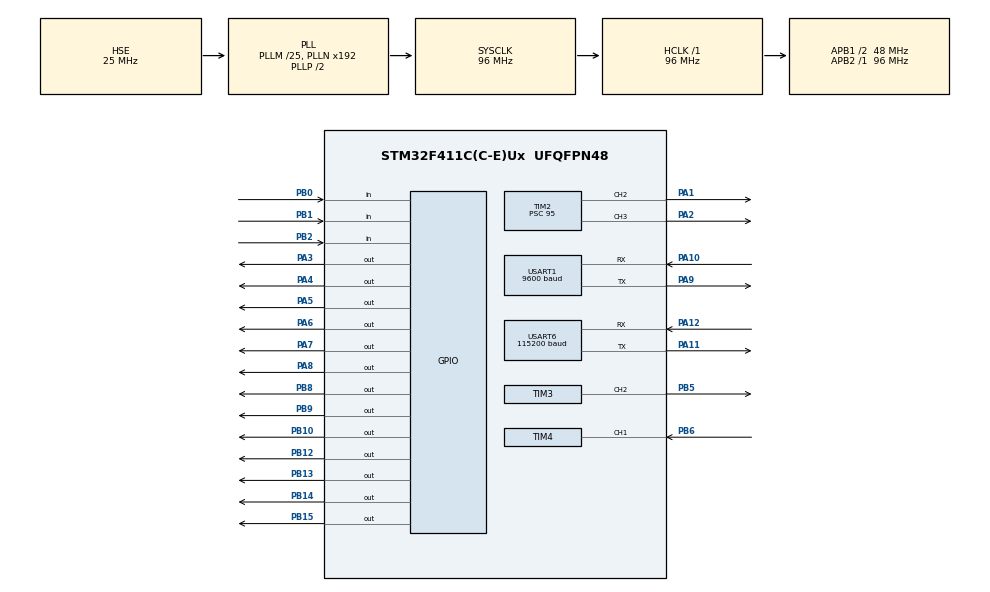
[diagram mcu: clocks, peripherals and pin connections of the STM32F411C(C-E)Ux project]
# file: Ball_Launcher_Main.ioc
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Mcu.Family=STM32F4
Mcu.Name=STM32F411C(C-E)Ux
Mcu.Package=UFQFPN48
NVIC.PriorityGroup=NVIC_PRIORITYGROUP_4
NVIC.TIM4_IRQn=true\:0\:0\:false\:false\:true\:true\:true\:true
NVIC.USART1_IRQn=true\:0\:0\:false\:false\:true\:true\:true\:true
PA1.Signal=S_TIM2_CH2
PA10.Mode=Asynchronous
PA10.Signal=USART1_RX
PA11.Mode=Asynchronous
PA11.Signal=USART6_TX
PA12.Mode=Asynchronous
PA12.Signal=USART6_RX
PA2.Signal=S_TIM2_CH3
PA3.Signal=GPIO_Output
PA4.Signal=GPIO_Output
PA5.Signal=GPIO_Output
PA6.Signal=GPIO_Output
PA7.Signal=GPIO_Output
PA8.Signal=GPIO_Output
PA9.Mode=Asynchronous
PA9.Signal=USART1_TX
PB0.Signal=GPIO_Input
PB1.Signal=GPIO_Input
PB10.Signal=GPIO_Output
PB12.Signal=GPIO_Output
PB13.Signal=GPIO_Output
PB14.Signal=GPIO_Output
PB15.Signal=GPIO_Output
PB2.Signal=GPIO_Input
PB5.Signal=S_TIM3_CH2
PB6.Signal=S_TIM4_CH1
PB8.Signal=GPIO_Output
PB9.Signal=GPIO_Output
PH0\ -\ OSC_IN.Mode=HSE-External-Oscillator
PH0\ -\ OSC_IN.Signal=RCC_OSC_IN
PH1\ -\ OSC_OUT.Mode=HSE-External-Oscillator
PH1\ -\ OSC_OUT.Signal=RCC_OSC_OUT
ProjectManager.HeapSize=0x200
ProjectManager.StackSize=0x400
ProjectManager.TargetToolchain=STM32CubeIDE
RCC.48MHZClocksFreq_Value=48000000
RCC.AHBFreq_Value=96000000
RCC.APB1CLKDivider=RCC_HCLK_DIV2
RCC.APB1Freq_Value=48000000
RCC.APB1TimFreq_Value=96000000
RCC.APB2Freq_Value=96000000
RCC.APB2TimFreq_Value=96000000
RCC.CortexFreq_Value=96000000
RCC.HCLKFreq_Value=96000000
RCC.HSE_VALUE=25000000
RCC.HSI_VALUE=16000000
RCC.LSE_VALUE=32768
RCC.PLLM=25
RCC.PLLSourceVirtual=RCC_PLLSOURCE_HSE
RCC.SYSCLKFreq_VALUE=96000000
RCC.SYSCLKSource=RCC_SYSCLKSOURCE_PLLCLK
RCC.VCOOutputFreq_Value=192000000
SH.S_TIM2_CH2.0=TIM2_CH2,PWM Generation2 CH2
SH.S_TIM2_CH3.0=TIM2_CH3,PWM Generation3 CH3
SH.S_TIM3_CH2.0=TIM3_CH2,PWM Generation2 CH2
SH.S_TIM4_CH1.0=TIM4_CH1,Input_Capture1_from_TI1
TIM2.Channel-PWM\ Generation2\ CH2=TIM_CHANNEL_2
TIM2.Channel-PWM\ Generation3\ CH3=TIM_CHANNEL_3
TIM2.Period=19999
TIM2.Prescaler=95
TIM3.Channel-PWM\ Generation2\ CH2=TIM_CHANNEL_2
TIM3.Period=19999
TIM3.Prescaler=95
TIM4.Channel-Input_Capture1_from_TI1=TIM_CHANNEL_1
TIM4.Channel-Input_Capture2_from_TI1_63=TIM_CHANNEL_2
TIM4.ICPolarity_CH2=TIM_INPUTCHANNELPOLARITY_FALLING
TIM4.Period=17499
TIM4.Prescaler=95
USART1.BaudRate=9600
USART1.VirtualMode=VM_ASYNC
USART6.BaudRate=115200
USART6.VirtualMode=VM_ASYNC
VP_TIM4_VS_indirect_ch1.Mode=Input_Capture2_from_TI1_63
board=custom

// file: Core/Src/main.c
/* USER CODE BEGIN Header */
/**
  ******************************************************************************
  * @file           main.c
  * @brief          Main program body
  ******************************************************************************
  * @attention
  *
  * Copyright (c) 2024 STMicroelectronics.
  * All rights reserved.
  *
  * This software is licensed under terms that can be found in the LICENSE file
  * in the root directory of this software component.
  * If no LICENSE file comes with this software, it is provided AS-IS.
  *
  ******************************************************************************
  */
/* USER CODE END Header */
#include "main.h"

/* USER CODE BEGIN Includes */
#include <stdio.h>
#include <stdint.h>
#include <string.h>
#include "stm32f4xx_hal.h"
#include "stepper_driver.h"
#include "switch.h"
#include "d4215.h"
#include "led.h"
/* USER CODE END Includes */

TIM_HandleTypeDef htim2;
TIM_HandleTypeDef htim3;
TIM_HandleTypeDef htim4;

UART_HandleTypeDef huart1;
UART_HandleTypeDef huart6;

/* USER CODE BEGIN PV */
// Initiate data buffer
char charIn;
char data[20];

// Initiate reset timer parameter
uint32_t ti = 0;
uint32_t tf = 0;
uint32_t dt = 0;

// Initiate yaw + pitch angle + target angle for steppers
uint16_t yaw = 0;
uint16_t pitch = 0;
uint16_t angleTarget = 0;

// Initiate rise fall and total for radio driver
uint16_t rise = 0;
uint16_t fall = 0;
uint16_t total = 0;

// Initiate yaw and pitch direction from controller and direction from the switch
uint8_t yawDirection   = 0;
uint8_t pitchDirection = 0;
uint8_t yawDirectionSW   = 0;
uint8_t pitchDirectionSW = 0;

// Initiate flags
uint8_t idx   = 0;
uint8_t MOVE  = 0;
uint8_t SHOT  = 0;
uint8_t ESTOP = 0;
uint8_t CAL   = 0;
uint8_t HOME  = 0;
uint8_t DROP  = 0;
uint8_t SW1   = 0;
uint8_t SW2   = 0;
uint8_t SW3   = 0;
uint8_t SW    = 0;

// Initiate STATE & STATE NUMBER
uint8_t STATE 		    = 0;
uint8_t STATE_0_INIT    = 0;
uint8_t STATE_1_HUB     = 1;
uint8_t STATE_2_ESTOP   = 2;
uint8_t STATE_3_STEPPER = 3;
uint8_t STATE_4_BLDC    = 4;

/* USER CODE END PV */

void SystemClock_Config(void);
static void MX_GPIO_Init(void);
static void MX_USART1_UART_Init(void);
static void MX_USART6_UART_Init(void);
static void MX_TIM2_Init(void);
static void MX_TIM4_Init(void);
static void MX_TIM3_Init(void);
/* USER CODE BEGIN PFP */
void HAL_UART_RxCpltCallback(UART_HandleTypeDef *huart);
void dataProcess(char* data);
uint16_t speedCalculate(uint16_t first, uint16_t second, uint16_t third);
uint16_t map(uint16_t x, uint16_t in_min, uint16_t in_max, uint16_t out_min, uint16_t out_max);
/* USER CODE END PFP */

int main(void)
{

  /* MCU Configuration--------------------------------------------------------*/

  /* Reset of all peripherals, Initializes the Flash interface and the Systick. */
  HAL_Init();

  /* Configure the system clock */
  SystemClock_Config();

  /* Initialize all configured peripherals */
  MX_GPIO_Init();
  MX_USART1_UART_Init();
  MX_USART6_UART_Init();
  MX_TIM2_Init();
  MX_TIM4_Init();
  MX_TIM3_Init();
  /* USER CODE BEGIN 2 */
  // Create desired object
  StepperX STEPPER1;
  StepperX STEPPER2;
  D4215X ESC1;
  D4215X ESC2;
  D4215X SER1;
  SwitchX S1;
  SwitchX S2;
  SwitchX S3;
  LEDX LED1;
  LEDX LED2;

  /* USER CODE END 2 */

  /* Infinite loop */
  /* USER CODE BEGIN WHILE */
  while (1)
  {
	  // Print to UART6 for debug
      char buffer[100];
	  HAL_UART_Receive_IT(&huart1, (uint8_t *)&charIn, 1);
      snprintf(buffer, sizeof(buffer), "%d\t%d\t%d\t%d\t\r\n", MOVE, SHOT, ESTOP, STATE);
      HAL_UART_Transmit(&huart6, (uint8_t *)buffer, strlen(buffer), 100);

      // Run Finite State Machine

      // STATE 0: INIT ALL OBJECTS
	  if (STATE == STATE_0_INIT) {
		  //INIT SERVO
		  HAL_TIM_PWM_Start(&htim3, TIM_CHANNEL_2);
		  // INIT RADIO TIMER
		  HAL_TIM_Base_Start(&htim4);
		  HAL_TIM_IC_Start_IT(&htim4, TIM_CHANNEL_1);
		  HAL_TIM_IC_Start_IT(&htim4, TIM_CHANNEL_2);
		  // INIT STEPPER MOTOR
  		  Stepper_init(&STEPPER1, GPIOA, GPIO_PIN_3, GPIO_PIN_5, GPIO_PIN_7);
  		  Stepper_init(&STEPPER2, GPIOA, GPIO_PIN_4, GPIO_PIN_6, GPIO_PIN_8);
  		  // INIT D4215 BLDC MOTORS
  		  D4215_init  (&ESC1,&htim2,TIM_CHANNEL_2);
  		  D4215_init  (&ESC2,&htim2,TIM_CHANNEL_3);
  		  D4215_init  (&SER1,&htim3,TIM_CHANNEL_2);
  		  // INIT 3 LIMIT SWITCHES
  		  Switch_init (&S1, GPIOB, GPIO_PIN_0);
  		  Switch_init (&S2, GPIOB, GPIO_PIN_1);
  		  Switch_init (&S3, GPIOB, GPIO_PIN_2);
  		  // INIT 2 EXTRA LEDS
  		  LED_init    (&LED1, GPIOB, GPIO_PIN_14);
  		  LED_init    (&LED2, GPIOB, GPIO_PIN_15);
  		  // MOVE --> STATE 1: DECISION HUB
  		  STATE = STATE_1_HUB;
	  }

	  // STATE 1: DECISION HUB TO BRANCH TO DIFFERENT HUB
	  else if (STATE == STATE_1_HUB) {
		  // TURN OFF 2 LEDS
		  LED_off(&LED1);
		  LED_off(&LED2);
		  // ENABLE 2 STEPPERS
  		  Stepper_enable(&STEPPER1);
  		  Stepper_enable(&STEPPER2);
  		  // READ 3 LIMIT SWITCHES
		  SW1   = Switch_getStatus(&S1);
		  SW2   = Switch_getStatus(&S2);
		  SW3   = Switch_getStatus(&S3);
		  if (DROP == 1) {
			  D4215_set(&SER1, 30);
		  }
		  else {
			  D4215_set(&SER1, 0);
		  }
		  // CHECK ESTOP
		  if (ESTOP == 1) {
			  ti = HAL_GetTick();
			  STATE = STATE_2_ESTOP;
		  }
		  // CHECK LIMIT SWITCHES OR "MOVE" FLAG FROM CONTROLLER
		  else if ((MOVE == 1 && SHOT == 0) || SW1 == 0 || SW2 == 0 || SW3 == 0) {
			  if (SW1 == 0) {
			      SW = 1;
			      angleTarget = 10;
			      yawDirectionSW = 0;
			  } else if (SW2 == 0) {
			      SW = 2;
			      angleTarget = 10;
			      yawDirectionSW = 1;
			  } else if (SW3 == 0) {
				  SW = 3;
			      angleTarget = 10;
			      pitchDirectionSW = 0;
			  } else {
				  angleTarget = 10;
				  SW = 0;
			  }
			  STATE = STATE_3_STEPPER;
		  }
		  // CHECK "SHOT" FLAG FROM CONTROLLER
		  else if (MOVE == 0 && SHOT == 1) {
			  STATE = STATE_4_BLDC;
		  }
		  // STOP IF
		  else {
			  D4215_set(&ESC1, 0);
			  D4215_set(&ESC2, 0);
			  STATE = STATE_1_HUB;
		  }
	  }
	  // STATE 2: EMERGENCY STOP STATE
	  else if (STATE == STATE_2_ESTOP) {
		  // DISABLE STEPPER MOTORS
  		  Stepper_disable(&STEPPER1);
  		  Stepper_disable(&STEPPER2);
  		  // STOP BLDC MOTORS
		  D4215_set(&ESC1, 0);
		  D4215_set(&ESC2, 0);
		  // CHECK FOR RESET BY PUSHING 2 BUTTONS AT THE SAME TIME FOR 5 SECONDS
		  if (MOVE == 1 && SHOT == 1) {
			  tf = HAL_GetTick();
			  dt += (tf-ti);
			  ti = tf;
		  }
		  else {
			  dt = 0;
		  }
		  STATE = (dt > 5000) ? STATE_1_HUB : STATE_2_ESTOP;

	  }
	  // STATE 3: SPIN STEPPER MOTORS
	  else if (STATE == STATE_3_STEPPER) {
		  LED_on(&LED1);
		  // LEFT SWITCH HIT --> MOVE TO THE RIGHT
		  if (SW == 1) {
			  for (int i = 0; i <= angleTarget/2; i++) {
				  Stepper_setspeed (&STEPPER1, 10, yawDirectionSW);
			  }
			  SW = 0;
		  }
		  // RIGHT SWITCH HIT --> MOVE TO THE LEFT
		  else if (SW == 2) {
			  for (int i = 0; i <= angleTarget/2; i ++) {
				  Stepper_setspeed (&STEPPER1, 10, yawDirectionSW);
			  }
			  SW = 0;
		  }
		  // MID SWITCH HIT --> MOVE UP
		  else if (SW == 3) {
			  for (int i = 0; i <= 10 * angleTarget/2; i ++) {
				  Stepper_setspeed (&STEPPER2, 10, pitchDirectionSW);
			  }
			  SW = 0;
		  }
		  // IF NOT SWITCH, MOVE ACCODING TO THE IMU DATA
		  else {
			  uint16_t yaw_map = map(yaw, 20, 250, 5, 30);
			  if (yaw > 20) {
				  for (int i = 0; i <= yaw_map; i ++) {
					  Stepper_setspeed (&STEPPER1, 1, yawDirection);
				  }
			  }
			  uint16_t pitch_map = map(pitch, 20, 250, 5, 50);
			  if (pitch > 20) {
				  for (int i = 0; i <= pitch_map; i ++) {
					  Stepper_setspeed (&STEPPER2, 1, pitchDirection);
				  }
			  }
		  }
		  STATE = STATE_1_HUB;
	  }

	  // STATE 4: BLDC MOTOR
	  else if (STATE == STATE_4_BLDC) {
		  LED_on(&LED2);
		  // TURN SERVO RELEASE BALL
		  D4215_set(&ESC1, 50);
		  D4215_set(&ESC2, 50);
		  STATE = STATE_1_HUB;
	  }

	  // STATE 1: DECISION HUB IN CASE SOME ERROR
	  else {
		  STATE = STATE_1_HUB;
	  }
    /* USER CODE END WHILE */

  }
}

void SystemClock_Config(void)
{
  RCC_OscInitTypeDef RCC_OscInitStruct = {0};
  RCC_ClkInitTypeDef RCC_ClkInitStruct = {0};

  /** Configure the main internal regulator output voltage
  */
  __HAL_RCC_PWR_CLK_ENABLE();
  __HAL_PWR_VOLTAGESCALING_CONFIG(PWR_REGULATOR_VOLTAGE_SCALE1);

  /** Initializes the RCC Oscillators according to the specified parameters
  * in the RCC_OscInitTypeDef structure.
  */
  RCC_OscInitStruct.OscillatorType = RCC_OSCILLATORTYPE_HSE;
  RCC_OscInitStruct.HSEState = RCC_HSE_ON;
  RCC_OscInitStruct.PLL.PLLState = RCC_PLL_ON;
  RCC_OscInitStruct.PLL.PLLSource = RCC_PLLSOURCE_HSE;
  RCC_OscInitStruct.PLL.PLLM = 25;
  RCC_OscInitStruct.PLL.PLLN = 192;
  RCC_OscInitStruct.PLL.PLLP = RCC_PLLP_DIV2;
  RCC_OscInitStruct.PLL.PLLQ = 4;
  if (HAL_RCC_OscConfig(&RCC_OscInitStruct) != HAL_OK)
  {
    Error_Handler();
  }

  /** Initializes the CPU, AHB and APB buses clocks
  */
  RCC_ClkInitStruct.ClockType = RCC_CLOCKTYPE_HCLK|RCC_CLOCKTYPE_SYSCLK
                              |RCC_CLOCKTYPE_PCLK1|RCC_CLOCKTYPE_PCLK2;
  RCC_ClkInitStruct.SYSCLKSource = RCC_SYSCLKSOURCE_PLLCLK;
  RCC_ClkInitStruct.AHBCLKDivider = RCC_SYSCLK_DIV1;
  RCC_ClkInitStruct.APB1CLKDivider = RCC_HCLK_DIV2;
  RCC_ClkInitStruct.APB2CLKDivider = RCC_HCLK_DIV1;

  if (HAL_RCC_ClockConfig(&RCC_ClkInitStruct, FLASH_LATENCY_3) != HAL_OK)
  {
    Error_Handler();
  }
}

static void MX_TIM2_Init(void)
{

  TIM_MasterConfigTypeDef sMasterConfig = {0};
  TIM_OC_InitTypeDef sConfigOC = {0};

  htim2.Instance = TIM2;
  htim2.Init.Prescaler = 95;
  htim2.Init.CounterMode = TIM_COUNTERMODE_UP;
  htim2.Init.Period = 19999;
  htim2.Init.ClockDivision = TIM_CLOCKDIVISION_DIV1;
  htim2.Init.AutoReloadPreload = TIM_AUTORELOAD_PRELOAD_DISABLE;
  if (HAL_TIM_PWM_Init(&htim2) != HAL_OK)
  {
    Error_Handler();
  }
  sMasterConfig.MasterOutputTrigger = TIM_TRGO_RESET;
  sMasterConfig.MasterSlaveMode = TIM_MASTERSLAVEMODE_DISABLE;
  if (HAL_TIMEx_MasterConfigSynchronization(&htim2, &sMasterConfig) != HAL_OK)
  {
    Error_Handler();
  }
  sConfigOC.OCMode = TIM_OCMODE_PWM1;
  sConfigOC.Pulse = 0;
  sConfigOC.OCPolarity = TIM_OCPOLARITY_HIGH;
  sConfigOC.OCFastMode = TIM_OCFAST_DISABLE;
  if (HAL_TIM_PWM_ConfigChannel(&htim2, &sConfigOC, TIM_CHANNEL_2) != HAL_OK)
  {
    Error_Handler();
  }
  if (HAL_TIM_PWM_ConfigChannel(&htim2, &sConfigOC, TIM_CHANNEL_3) != HAL_OK)
  {
    Error_Handler();
  }
  HAL_TIM_MspPostInit(&htim2);

}

static void MX_TIM3_Init(void)
{

  TIM_MasterConfigTypeDef sMasterConfig = {0};
  TIM_OC_InitTypeDef sConfigOC = {0};

  htim3.Instance = TIM3;
  htim3.Init.Prescaler = 95;
  htim3.Init.CounterMode = TIM_COUNTERMODE_UP;
  htim3.Init.Period = 19999;
  htim3.Init.ClockDivision = TIM_CLOCKDIVISION_DIV1;
  htim3.Init.AutoReloadPreload = TIM_AUTORELOAD_PRELOAD_DISABLE;
  if (HAL_TIM_PWM_Init(&htim3) != HAL_OK)
  {
    Error_Handler();
  }
  sMasterConfig.MasterOutputTrigger = TIM_TRGO_RESET;
  sMasterConfig.MasterSlaveMode = TIM_MASTERSLAVEMODE_DISABLE;
  if (HAL_TIMEx_MasterConfigSynchronization(&htim3, &sMasterConfig) != HAL_OK)
  {
    Error_Handler();
  }
  sConfigOC.OCMode = TIM_OCMODE_PWM1;
  sConfigOC.Pulse = 0;
  sConfigOC.OCPolarity = TIM_OCPOLARITY_HIGH;
  sConfigOC.OCFastMode = TIM_OCFAST_DISABLE;
  if (HAL_TIM_PWM_ConfigChannel(&htim3, &sConfigOC, TIM_CHANNEL_2) != HAL_OK)
  {
    Error_Handler();
  }
  HAL_TIM_MspPostInit(&htim3);

}

static void MX_TIM4_Init(void)
{

  TIM_MasterConfigTypeDef sMasterConfig = {0};
  TIM_IC_InitTypeDef sConfigIC = {0};

  htim4.Instance = TIM4;
  htim4.Init.Prescaler = 95;
  htim4.Init.CounterMode = TIM_COUNTERMODE_UP;
  htim4.Init.Period = 17499;
  htim4.Init.ClockDivision = TIM_CLOCKDIVISION_DIV1;
  htim4.Init.AutoReloadPreload = TIM_AUTORELOAD_PRELOAD_DISABLE;
  if (HAL_TIM_IC_Init(&htim4) != HAL_OK)
  {
    Error_Handler();
  }
  sMasterConfig.MasterOutputTrigger = TIM_TRGO_RESET;
  sMasterConfig.MasterSlaveMode = TIM_MASTERSLAVEMODE_DISABLE;
  if (HAL_TIMEx_MasterConfigSynchronization(&htim4, &sMasterConfig) != HAL_OK)
  {
    Error_Handler();
  }
  sConfigIC.ICPolarity = TIM_INPUTCHANNELPOLARITY_RISING;
  sConfigIC.ICSelection = TIM_ICSELECTION_DIRECTTI;
  sConfigIC.ICPrescaler = TIM_ICPSC_DIV1;
  sConfigIC.ICFilter = 0;
  if (HAL_TIM_IC_ConfigChannel(&htim4, &sConfigIC, TIM_CHANNEL_1) != HAL_OK)
  {
    Error_Handler();
  }
  sConfigIC.ICPolarity = TIM_INPUTCHANNELPOLARITY_FALLING;
  sConfigIC.ICSelection = TIM_ICSELECTION_INDIRECTTI;
  if (HAL_TIM_IC_ConfigChannel(&htim4, &sConfigIC, TIM_CHANNEL_2) != HAL_OK)
  {
    Error_Handler();
  }

}

static void MX_USART1_UART_Init(void)
{

  huart1.Instance = USART1;
  huart1.Init.BaudRate = 9600;
  huart1.Init.WordLength = UART_WORDLENGTH_8B;
  huart1.Init.StopBits = UART_STOPBITS_1;
  huart1.Init.Parity = UART_PARITY_NONE;
  huart1.Init.Mode = UART_MODE_TX_RX;
  huart1.Init.HwFlowCtl = UART_HWCONTROL_NONE;
  huart1.Init.OverSampling = UART_OVERSAMPLING_16;
  if (HAL_UART_Init(&huart1) != HAL_OK)
  {
    Error_Handler();
  }

}

static void MX_USART6_UART_Init(void)
{

  huart6.Instance = USART6;
  huart6.Init.BaudRate = 115200;
  huart6.Init.WordLength = UART_WORDLENGTH_8B;
  huart6.Init.StopBits = UART_STOPBITS_1;
  huart6.Init.Parity = UART_PARITY_NONE;
  huart6.Init.Mode = UART_MODE_TX_RX;
  huart6.Init.HwFlowCtl = UART_HWCONTROL_NONE;
  huart6.Init.OverSampling = UART_OVERSAMPLING_16;
  if (HAL_UART_Init(&huart6) != HAL_OK)
  {
    Error_Handler();
  }

}

static void MX_GPIO_Init(void)
{
  GPIO_InitTypeDef GPIO_InitStruct = {0};

  /* GPIO Ports Clock Enable */
  __HAL_RCC_GPIOH_CLK_ENABLE();
  __HAL_RCC_GPIOA_CLK_ENABLE();
  __HAL_RCC_GPIOB_CLK_ENABLE();

  /*Configure GPIO pin Output Level */
  HAL_GPIO_WritePin(GPIOA, GPIO_PIN_3|GPIO_PIN_4|GPIO_PIN_5|GPIO_PIN_6
                          |GPIO_PIN_7|GPIO_PIN_8, GPIO_PIN_RESET);

  /*Configure GPIO pin Output Level */
  HAL_GPIO_WritePin(GPIOB, GPIO_PIN_10|GPIO_PIN_12|GPIO_PIN_13|GPIO_PIN_14
                          |GPIO_PIN_15|GPIO_PIN_8|GPIO_PIN_9, GPIO_PIN_RESET);

  /*Configure GPIO pins : PA3 PA4 PA5 PA6
                           PA7 PA8 */
  GPIO_InitStruct.Pin = GPIO_PIN_3|GPIO_PIN_4|GPIO_PIN_5|GPIO_PIN_6
                          |GPIO_PIN_7|GPIO_PIN_8;
  GPIO_InitStruct.Mode = GPIO_MODE_OUTPUT_PP;
  GPIO_InitStruct.Pull = GPIO_NOPULL;
  GPIO_InitStruct.Speed = GPIO_SPEED_FREQ_LOW;
  HAL_GPIO_Init(GPIOA, &GPIO_InitStruct);

  /*Configure GPIO pins : PB0 PB1 PB2 */
  GPIO_InitStruct.Pin = GPIO_PIN_0|GPIO_PIN_1|GPIO_PIN_2;
  GPIO_InitStruct.Mode = GPIO_MODE_INPUT;
  GPIO_InitStruct.Pull = GPIO_NOPULL;
  HAL_GPIO_Init(GPIOB, &GPIO_InitStruct);

  /*Configure GPIO pins : PB10 PB12 PB13 PB14
                           PB15 PB8 PB9 */
  GPIO_InitStruct.Pin = GPIO_PIN_10|GPIO_PIN_12|GPIO_PIN_13|GPIO_PIN_14
                          |GPIO_PIN_15|GPIO_PIN_8|GPIO_PIN_9;
  GPIO_InitStruct.Mode = GPIO_MODE_OUTPUT_PP;
  GPIO_InitStruct.Pull = GPIO_NOPULL;
  GPIO_InitStruct.Speed = GPIO_SPEED_FREQ_LOW;
  HAL_GPIO_Init(GPIOB, &GPIO_InitStruct);

}

/* USER CODE BEGIN 4 */
void HAL_UART_RxCpltCallback(UART_HandleTypeDef *huart)
{
  if (huart->Instance == USART1)
  {
    if (charIn == '\n')
    {
      data[idx] = '\0'; // Null-terminate the buffer
//      HAL_UART_Transmit(&huart6, (uint8_t*)data, idx, 100);
//      HAL_UART_Transmit(&huart6, (uint8_t*)"\r\n", 2, 100);
      dataProcess(data);
      idx = 0;
    }
    else
    {
      if (idx < sizeof(data) - 1)
      {
        data[idx++] = charIn;
      }
    }
    // Restart UART receive interrupt for next character
    HAL_UART_Receive_IT(&huart1, (uint8_t *)&charIn, 1);
  }
}

void dataProcess(char* data) {
	MOVE = (int16_t)data[0] - 48;
	SHOT = (int16_t)data[2] - 48;
	yawDirection   = ((uint8_t)data[4] == 45) ? 0 : 1;
	pitchDirection = ((uint8_t)data[9] == 45) ? 0 : 1;
//	if (pitchDirection == 0) {
//		pitchDirection == 1;
//	} else {
//		pitchDirection == 0;
//	}
//
//	if (yawDirection == 0) {
//		yawDirection == 1;
//	} else {
//		yawDirection == 0;
//	}

	uint16_t yaw1 = (uint16_t)data[5] - 48;
	uint16_t yaw2 = (uint16_t)data[6] - 48;
	uint16_t yaw3 = (uint16_t)data[7] - 48;

	uint16_t pitch1 = (uint16_t)data[10] - 48;
	uint16_t pitch2 = (uint16_t)data[11] - 48;
	uint16_t pitch3 = (uint16_t)data[12] - 48;

	yaw   = speedCalculate(yaw1, yaw2, yaw3);
	pitch = speedCalculate(pitch1, pitch2, pitch3);

	DROP  = (int16_t)data[14] - 48;
}

uint16_t speedCalculate(uint16_t first, uint16_t second, uint16_t third) {
	uint16_t number = 100 * first + 10 * second + 1 * third;
	return number;
}

void HAL_TIM_IC_CaptureCallback(TIM_HandleTypeDef *htim) {
    if (htim->Instance == TIM4) {
        if (htim->Channel == HAL_TIM_ACTIVE_CHANNEL_1) {
            rise = HAL_TIM_ReadCapturedValue(htim, TIM_CHANNEL_1);
        } else if (htim->Channel == HAL_TIM_ACTIVE_CHANNEL_2) {
            fall = HAL_TIM_ReadCapturedValue(htim, TIM_CHANNEL_2);
            if (fall >= rise) {
                total = fall - rise;
            } else {
                total = UINT16_MAX - rise + fall + 1;
            }

            if (total > 1800 && total < 2200) {
            	ESTOP = 1;
            }
            else {
            	ESTOP = 0;
            }
        }
    }
}
uint16_t map(uint16_t x, uint16_t in_min, uint16_t in_max, uint16_t out_min, uint16_t out_max) {
    return (uint16_t)((x - in_min) * (out_max - out_min) / (in_max - in_min) + out_min);
}
/* USER CODE END 4 */

void Error_Handler(void)
{
  __disable_irq();
  while (1)
  {
  }
}
